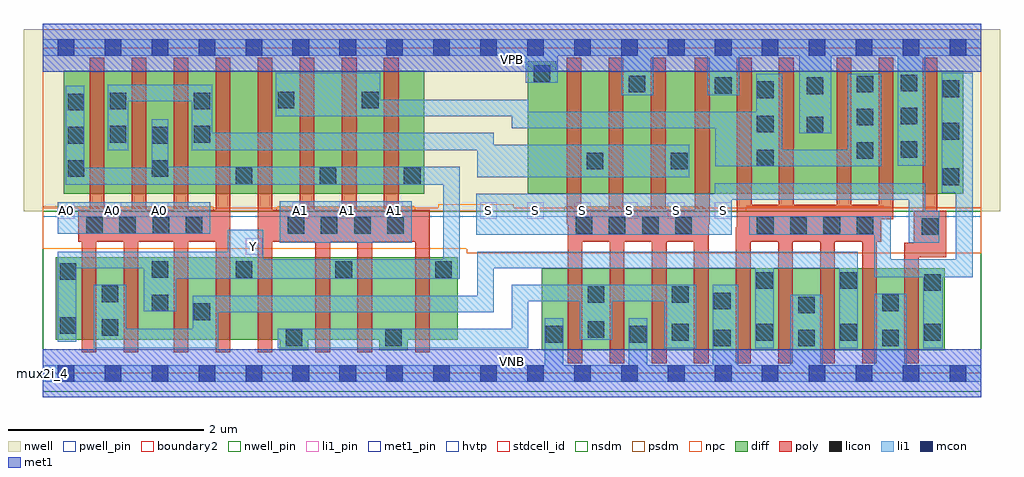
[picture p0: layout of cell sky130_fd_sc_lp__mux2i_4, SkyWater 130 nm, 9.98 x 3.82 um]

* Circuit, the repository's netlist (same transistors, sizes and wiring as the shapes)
* Copyright 2020 The SkyWater PDK Authors
*
* Licensed under the Apache License, Version 2.0 (the "License");
* you may not use this file except in compliance with the License.
* You may obtain a copy of the License at
*
*     https://www.apache.org/licenses/LICENSE-2.0
*
* Unless required by applicable law or agreed to in writing, software
* distributed under the License is distributed on an "AS IS" BASIS,
* WITHOUT WARRANTIES OR CONDITIONS OF ANY KIND, either express or implied.
* See the License for the specific language governing permissions and
* limitations under the License.
*
* SPDX-License-Identifier: Apache-2.0

.SUBCKT sky130_fd_sc_lp__mux2i_4 A0 A1 S VGND VNB VPB VPWR Y
*.PININFO A0:I A1:I S:I VGND:I VNB:I VPB:I VPWR:I Y:O
MMNA00 Y A0 smdNA0 VNB sky130_fd_pr__nfet_01v8 m=4 w=0.84U l=0.15U mult=1 sa=0.265
+ sb=0.265 sd=0.28 area=0.063 perim=1.14
MMNA01 smdNA0 Sb VGND VNB sky130_fd_pr__nfet_01v8 m=4 w=0.84U l=0.15U mult=1 sa=0.265
+ sb=0.265 sd=0.28 area=0.063 perim=1.14
MMNA10 Y A1 sndNA1 VNB sky130_fd_pr__nfet_01v8 m=4 w=0.84U l=0.15U mult=1 sa=0.265
+ sb=0.265 sd=0.28 area=0.063 perim=1.14
MMNA11 sndNA1 S VGND VNB sky130_fd_pr__nfet_01v8 m=4 w=0.84U l=0.15U mult=1 sa=0.265
+ sb=0.265 sd=0.28 area=0.063 perim=1.14
MMIN1 Sb S VGND VNB sky130_fd_pr__nfet_01v8 m=1 w=0.84U l=0.15U mult=1 sa=0.265
+ sb=0.265 sd=0.28 area=0.063 perim=1.14
MMPA00 VPWR S sndPS VPB sky130_fd_pr__pfet_01v8_hvt m=4 w=1.26U l=0.15U mult=1
+ sa=0.265 sb=0.265 sd=0.28 area=0.063 perim=1.14
MMPA01 sndPS A0 Y VPB sky130_fd_pr__pfet_01v8_hvt m=4 w=1.26U l=0.15U mult=1 sa=0.265
+ sb=0.265 sd=0.28 area=0.063 perim=1.14
MMPA10 VPWR Sb sndPSb VPB sky130_fd_pr__pfet_01v8_hvt m=4 w=1.26U l=0.15U mult=1
+ sa=0.265 sb=0.265 sd=0.28 area=0.063 perim=1.14
MMPA11 sndPSb A1 Y VPB sky130_fd_pr__pfet_01v8_hvt m=4 w=1.26U l=0.15U mult=1 sa=0.265
+ sb=0.265 sd=0.28 area=0.063 perim=1.14
MMIP1 Sb S VPWR VPB sky130_fd_pr__pfet_01v8_hvt m=1 w=1.26U l=0.15U mult=1 sa=0.265
+ sb=0.265 sd=0.28 area=0.063 perim=1.14
.ENDS sky130_fd_sc_lp__mux2i_4

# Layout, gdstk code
import gdstk
lib = gdstk.Library(unit=1e-6, precision=1e-09)
def R(c, l, rs):  # rectangles x0, y0, x1, y1
    for r in rs: c.add(gdstk.rectangle(r[:2], r[2:], *l))
def A(c, l, x, y, w, h, nx, ny, dx, dy):  # array of equal rectangles
    R(c, l, [(x+i*dx, y+j*dy, x+i*dx+w, y+j*dy+h) for i in range(nx) for j in range(ny)])
def P(c, l, *ps):  # polygons
    for p in ps: c.add(gdstk.Polygon(p, *l))
nwell_pin = (64, 16)
nwell = (64, 20)
diff = (65, 20)
poly = (66, 20)
licon = (66, 44)
li1_pin = (67, 16)
li1 = (67, 20)
mcon = (67, 44)
met1_pin = (68, 16)
met1 = (68, 20)
hvtp = (78, 44)
stdcell_id = (81, 4)
nsdm = (93, 44)
psdm = (94, 20)
npc = (95, 20)
pwell_pin = (122, 16)
boundary2 = (236, 0)

sky130_fd_sc_lp__mux2i_4 = lib.new_cell('sky130_fd_sc_lp__mux2i_4')
R(sky130_fd_sc_lp__mux2i_4, nwell_pin, [(0,3.085,9.6,3.33)])
R(sky130_fd_sc_lp__mux2i_4, nwell, [(-0.19,1.655,9.79,3.52)])
R(sky130_fd_sc_lp__mux2i_4, diff, [(5.105,0.235,9.225,1.075), (0.215,1.835,3.905,3.095)])
P(sky130_fd_sc_lp__mux2i_4, diff, [(4.245,1.185),(0.135,1.185),(0.135,0.345),(2.425,0.345),(2.425,0.235),(2.715,0.235),(2.715,0.345),(3.445,0.345),(3.445,0.235),(3.735,0.235),(3.735,0.345),(4.245,0.345)],
  [(9.415,3.095),(5.25,3.095),(5.25,3.19),(4.96,3.19),(4.96,1.835),(9.415,1.835)])
P(sky130_fd_sc_lp__mux2i_4, poly, [(1.92,3.225),(1.77,3.225),(1.77,1.675),(1.49,1.675),(1.49,3.225),(1.34,3.225),(1.34,1.675),(1.06,1.675),(1.06,3.225),(0.91,3.225),(0.91,1.675),(0.63,1.675),(0.63,3.225),(0.48,3.225),(0.48,1.675),(0.365,1.675),(0.365,1.345),(0.4,1.345),(0.4,0.215),(0.55,0.215),(0.55,1.345),(0.83,1.345),(0.83,0.215),(0.98,0.215),(0.98,1.345),(1.34,1.345),(1.34,0.215),(1.49,0.215),(1.49,1.345),(1.77,1.345),(1.77,0.215),(1.92,0.215)],
  [(3.96,1.675),(3.64,1.675),(3.64,3.225),(3.49,3.225),(3.49,1.675),(3.21,1.675),(3.21,3.225),(3.06,3.225),(3.06,1.675),(2.78,1.675),(2.78,3.225),(2.63,3.225),(2.63,1.675),(2.35,1.675),(2.35,3.225),(2.2,3.225),(2.2,0.215),(2.35,0.215),(2.35,1.345),(2.79,1.345),(2.79,0.215),(2.94,0.215),(2.94,1.345),(3.22,1.345),(3.22,0.215),(3.37,0.215),(3.37,1.345),(3.81,1.345),(3.81,0.215),(3.96,0.215)],
  [(6.82,3.225),(6.67,3.225),(6.67,1.675),(6.37,1.675),(6.37,3.225),(6.22,3.225),(6.22,1.675),(5.94,1.675),(5.94,3.225),(5.79,3.225),(5.79,1.675),(5.51,1.675),(5.51,3.225),(5.36,3.225),(5.36,1.525),(5.37,1.525),(5.37,0.105),(5.52,0.105),(5.52,1.345),(5.8,1.345),(5.8,0.105),(5.95,0.105),(5.95,1.345),(6.23,1.345),(6.23,0.105),(6.38,0.105),(6.38,1.345),(6.66,1.345),(6.66,0.105),(6.81,0.105),(6.81,1.525),(6.82,1.525)],
  [(8.7,3.225),(8.55,3.225),(8.55,1.725),(8.27,1.725),(8.27,3.225),(8.12,3.225),(8.12,1.725),(7.68,1.725),(7.68,3.225),(7.53,3.225),(7.53,1.725),(7.25,1.725),(7.25,3.225),(7.1,3.225),(7.1,1.495),(7.09,1.495),(7.09,0.105),(7.24,0.105),(7.24,1.345),(7.52,1.345),(7.52,0.105),(7.67,0.105),(7.67,1.345),(7.95,1.345),(7.95,0.105),(8.1,0.105),(8.1,1.345),(8.38,1.345),(8.38,0.105),(8.53,0.105),(8.53,1.345),(8.575,1.345),(8.575,1.575),(8.7,1.575)],
  [(9.24,1.665),(9.15,1.665),(9.15,3.225),(9,3.225),(9,1.665),(8.91,1.665),(8.91,1.335),(8.81,1.335),(8.81,0.105),(8.96,0.105),(8.96,1.185),(9.24,1.185)])
A(sky130_fd_sc_lp__mux2i_4, licon, 6.865, 0.275, 0.17, 0.17, 3, 1, 0.86, 0)
A(sky130_fd_sc_lp__mux2i_4, licon, 6.435, 0.335, 0.17, 0.17, 4, 1, 0.86, 0)
A(sky130_fd_sc_lp__mux2i_4, licon, 1.975, 0.975, 0.17, 0.17, 3, 1, 1.02, 0)
A(sky130_fd_sc_lp__mux2i_4, licon, 0.445, 1.425, 0.17, 0.17, 4, 1, 0.34, 0)
A(sky130_fd_sc_lp__mux2i_4, licon, 2.505, 1.425, 0.17, 0.17, 4, 1, 0.34, 0)
A(sky130_fd_sc_lp__mux2i_4, licon, 5.45, 1.425, 0.17, 0.17, 4, 1, 0.34, 0)
A(sky130_fd_sc_lp__mux2i_4, licon, 7.305, 1.425, 0.17, 0.17, 4, 1, 0.34, 0)
A(sky130_fd_sc_lp__mux2i_4, licon, 1.975, 1.93, 0.17, 0.17, 3, 1, 0.86, 0)
A(sky130_fd_sc_lp__mux2i_4, licon, 0.255, 2.01, 0.17, 0.17, 1, 3, 0, 0.34)
A(sky130_fd_sc_lp__mux2i_4, licon, 7.305, 2.115, 0.17, 0.17, 1, 3, 0, 0.35)
A(sky130_fd_sc_lp__mux2i_4, licon, 8.325, 2.195, 0.17, 0.17, 1, 3, 0, 0.34)
A(sky130_fd_sc_lp__mux2i_4, licon, 8.775, 2.205, 0.17, 0.17, 1, 3, 0, 0.34)
R(sky130_fd_sc_lp__mux2i_4, licon, [(2.485,0.275,2.655,0.445), (3.505,0.275,3.675,0.445), (5.145,0.315,5.315,0.485), (6.005,0.315,6.175,0.485), (5.575,0.365,5.745,0.535), (0.605,0.385,0.775,0.555), (0.175,0.405,0.345,0.575), (1.545,0.545,1.715,0.715), (7.725,0.615,7.895,0.785), (1.115,0.635,1.285,0.805), (8.585,0.635,8.755,0.805), (6.865,0.655,7.035,0.825), (5.575,0.72,5.745,0.89), (6.435,0.72,6.605,0.89), (0.605,0.725,0.775,0.895), (9.015,0.845,9.185,1.015), (7.295,0.865,7.465,1.035), (8.155,0.865,8.325,1.035), (0.175,0.955,0.345,1.125), (1.115,0.975,1.285,1.145), (8.99,1.415,9.16,1.585), (9.205,1.925,9.375,2.095), (1.115,2.01,1.285,2.18), (5.565,2.085,5.735,2.255), (6.425,2.085,6.595,2.255), (1.115,2.35,1.285,2.52), (0.685,2.36,0.855,2.53), (1.545,2.36,1.715,2.53), (9.205,2.39,9.375,2.56), (7.815,2.455,7.985,2.625), (0.685,2.7,0.855,2.87), (1.545,2.7,1.715,2.87), (2.405,2.71,2.575,2.88), (3.265,2.71,3.435,2.88), (9.205,2.825,9.375,2.995), (7.815,2.855,7.985,3.025), (6.875,2.86,7.045,3.03), (5.995,2.875,6.165,3.045), (5.02,2.98,5.19,3.15)])
A(sky130_fd_sc_lp__mux2i_4, li1_pin, 0.155, 1.58, 0.17, 0.17, 3, 1, 0.48, 0)
A(sky130_fd_sc_lp__mux2i_4, li1_pin, 2.555, 1.58, 0.17, 0.17, 3, 1, 0.48, 0)
A(sky130_fd_sc_lp__mux2i_4, li1_pin, 4.475, 1.58, 0.17, 0.17, 6, 1, 0.48, 0)
R(sky130_fd_sc_lp__mux2i_4, li1_pin, [(2.075,1.21,2.245,1.38)])
R(sky130_fd_sc_lp__mux2i_4, li1, [(2.425,1.335,3.775,1.76), (0.155,1.425,1.715,1.75), (7.735,2.455,8.065,3.245), (6.795,2.845,7.125,3.25)])
P(sky130_fd_sc_lp__mux2i_4, li1, [(4.94,2.97),(4.94,3.245),(0,3.245),(0,3.415),(9.6,3.415),(9.6,3.245),(9.025,3.245),(9.025,2.125),(8.745,2.125),(8.745,3.245),(6.245,3.245),(6.245,2.845),(5.915,2.845),(5.915,3.245),(5.27,3.245),(5.27,2.97)],
  [(5.995,0.085),(5.995,0.565),(6.185,0.565),(6.185,0.085),(6.855,0.085),(6.855,0.905),(7.115,0.905),(7.115,0.085),(7.645,0.085),(7.645,0.805),(7.975,0.805),(7.975,0.085),(8.505,0.085),(8.505,0.815),(8.835,0.815),(8.835,0.085),(9.6,0.085),(9.6,-0.085),(0,-0.085),(0,0.085),(5.135,0.085),(5.135,0.565),(5.325,0.565),(5.325,0.085)],
  [(6.875,1.945),(9.025,1.945),(9.025,1.665),(9.17,1.665),(9.17,1.335),(8.855,1.335),(8.855,1.775),(7.045,1.775),(7.045,1.415),(4.435,1.415),(4.435,1.835),(6.875,1.835)],
  [(2.255,1.165),(4.095,1.165),(4.095,1.93),(0.235,1.93),(0.235,2.94),(0.425,2.94),(0.425,2.1),(1.115,2.1),(1.115,2.6),(1.285,2.6),(1.285,2.11),(4.265,2.11),(4.265,0.965),(1.365,0.965),(1.365,0.635),(1.035,0.635),(1.035,1.075),(0.345,1.075),(0.345,0.325),(0.155,0.325),(0.155,1.245),(1.895,1.245),(1.895,1.47),(2.255,1.47)],
  [(4.615,0.625),(1.795,0.625),(1.795,0.255),(0.525,0.255),(0.525,0.905),(0.855,0.905),(0.855,0.455),(1.535,0.455),(1.535,0.795),(4.445,0.795),(4.445,1.245),(8.335,1.245),(8.335,0.255),(8.145,0.255),(8.145,1.075),(7.475,1.075),(7.475,0.255),(7.285,0.255),(7.285,1.075),(4.615,1.075)],
  [(8.505,0.985),(8.505,1.415),(7.225,1.415),(7.225,1.605),(8.675,1.605),(8.675,1.165),(9.34,1.165),(9.34,1.845),(9.195,1.845),(9.195,3.075),(9.51,3.075),(9.51,0.985),(9.205,0.985),(9.205,0.255),(9.005,0.255),(9.005,0.985)],
  [(8.575,3.065),(8.235,3.065),(8.235,2.285),(7.565,2.285),(7.565,3.065),(7.295,3.065),(7.295,2.675),(4.965,2.675),(4.965,2.8),(3.455,2.8),(3.455,3.075),(2.385,3.075),(2.385,2.63),(4.795,2.63),(4.795,2.505),(6.88,2.505),(6.88,2.115),(8.575,2.115)],
  [(4.445,2.005),(4.445,2.28),(1.525,2.28),(1.525,2.78),(0.875,2.78),(0.875,2.28),(0.665,2.28),(0.665,2.95),(1.735,2.95),(1.735,2.46),(4.615,2.46),(4.615,2.335),(6.615,2.335),(6.615,2.005)],
  [(6.355,0.735),(5.825,0.735),(5.825,0.345),(5.495,0.345),(5.495,0.735),(4.965,0.735),(4.965,0.255),(2.405,0.255),(2.405,0.455),(4.795,0.455),(4.795,0.905),(6.685,0.905),(6.685,0.255),(6.355,0.255)])
A(sky130_fd_sc_lp__mux2i_4, mcon, 0.155, -0.085, 0.17, 0.17, 20, 2, 0.48, 3.33)
R(sky130_fd_sc_lp__mux2i_4, met1_pin, [(0,0,9.6,0.245), (0,3.085,9.6,3.33)])
R(sky130_fd_sc_lp__mux2i_4, met1, [(0,-0.245,9.6,0.245), (0,3.085,9.6,3.575)])
R(sky130_fd_sc_lp__mux2i_4, hvtp, [(0,1.6,9.6,3.33)])
R(sky130_fd_sc_lp__mux2i_4, stdcell_id, [(0,0,9.6,3.33)])
R(sky130_fd_sc_lp__mux2i_4, nsdm, [(0,-0.19,9.6,1.655)])
P(sky130_fd_sc_lp__mux2i_4, psdm, [(9.6,3.52),(0,3.52),(0,1.705),(1.745,1.705),(1.745,1.655),(2.395,1.655),(2.395,1.705),(3.805,1.705),(3.805,1.655),(5.34,1.655),(5.34,1.705),(6.75,1.705),(6.75,1.655),(7.195,1.655),(7.195,1.705),(8.605,1.705),(8.605,1.695),(9.6,1.695)])
P(sky130_fd_sc_lp__mux2i_4, npc, [(9.6,1.695),(4.82,1.695),(4.82,1.73),(4.045,1.73),(4.045,1.695),(0,1.695),(0,1.275),(4.335,1.275),(4.335,1.23),(9.6,1.23)])
R(sky130_fd_sc_lp__mux2i_4, pwell_pin, [(0,0,9.6,0.245)])
R(sky130_fd_sc_lp__mux2i_4, boundary2, [(0,0,9.6,3.33)])
sky130_fd_sc_lp__mux2i_4.add(gdstk.Label('VNB', (4.8,0.123), layer=64, texttype=59))
sky130_fd_sc_lp__mux2i_4.add(gdstk.Label('VPB', (4.8,3.208), layer=64, texttype=5))
sky130_fd_sc_lp__mux2i_4.add(gdstk.Label('mux2i_4', (0,0), layer=83, texttype=44))
sky130_fd_sc_lp__mux2i_4.add(gdstk.Label('VPWR', (4.8,3.208), layer=68, texttype=5))
sky130_fd_sc_lp__mux2i_4.add(gdstk.Label('VGND', (4.8,0.123), layer=68, texttype=5))
sky130_fd_sc_lp__mux2i_4.add(gdstk.Label('S', (4.56,1.665), layer=67, texttype=5))
sky130_fd_sc_lp__mux2i_4.add(gdstk.Label('S', (5.04,1.665), layer=67, texttype=5))
sky130_fd_sc_lp__mux2i_4.add(gdstk.Label('S', (5.52,1.665), layer=67, texttype=5))
sky130_fd_sc_lp__mux2i_4.add(gdstk.Label('S', (6,1.665), layer=67, texttype=5))
sky130_fd_sc_lp__mux2i_4.add(gdstk.Label('S', (6.48,1.665), layer=67, texttype=5))
sky130_fd_sc_lp__mux2i_4.add(gdstk.Label('S', (6.96,1.665), layer=67, texttype=5))
sky130_fd_sc_lp__mux2i_4.add(gdstk.Label('Y', (2.16,1.295), layer=67, texttype=5))
sky130_fd_sc_lp__mux2i_4.add(gdstk.Label('A0', (0.24,1.665), layer=67, texttype=5))
sky130_fd_sc_lp__mux2i_4.add(gdstk.Label('A0', (0.72,1.665), layer=67, texttype=5))
sky130_fd_sc_lp__mux2i_4.add(gdstk.Label('A0', (1.2,1.665), layer=67, texttype=5))
sky130_fd_sc_lp__mux2i_4.add(gdstk.Label('A1', (2.64,1.665), layer=67, texttype=5))
sky130_fd_sc_lp__mux2i_4.add(gdstk.Label('A1', (3.12,1.665), layer=67, texttype=5))
sky130_fd_sc_lp__mux2i_4.add(gdstk.Label('A1', (3.6,1.665), layer=67, texttype=5))

lib.write_gds('sky130_fd_sc_lp__mux2i_4.gds')
